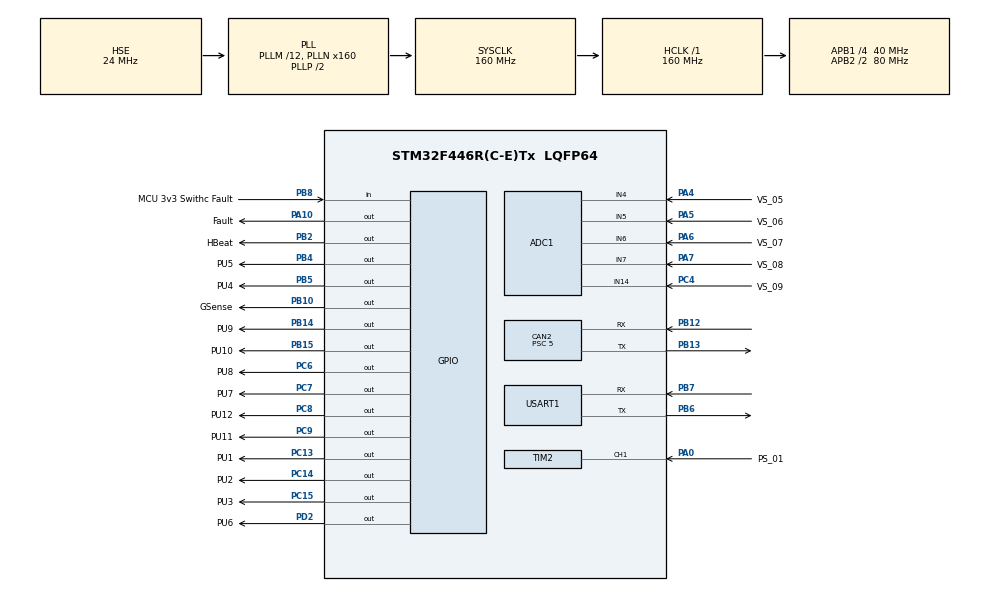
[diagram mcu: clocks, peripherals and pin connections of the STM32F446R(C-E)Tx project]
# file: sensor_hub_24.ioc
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ADC1.Channel-0\#ChannelRegularConversion=ADC_CHANNEL_4
ADC1.Channel-1\#ChannelRegularConversion=ADC_CHANNEL_5
ADC1.Channel-2\#ChannelRegularConversion=ADC_CHANNEL_6
ADC1.Channel-3\#ChannelRegularConversion=ADC_CHANNEL_7
ADC1.Channel-4\#ChannelRegularConversion=ADC_CHANNEL_14
ADC1.ContinuousConvMode=ENABLE
ADC1.DMAContinuousRequests=ENABLE
ADC1.InjNumberOfConversion=0
ADC1.NbrOfConversion=5
ADC1.NbrOfConversionFlag=1
ADC1.Rank-0\#ChannelRegularConversion=1
ADC1.Rank-1\#ChannelRegularConversion=2
ADC1.Rank-2\#ChannelRegularConversion=3
ADC1.Rank-3\#ChannelRegularConversion=4
ADC1.Rank-4\#ChannelRegularConversion=5
ADC1.SamplingTime-0\#ChannelRegularConversion=ADC_SAMPLETIME_480CYCLES
ADC1.SamplingTime-1\#ChannelRegularConversion=ADC_SAMPLETIME_480CYCLES
ADC1.SamplingTime-2\#ChannelRegularConversion=ADC_SAMPLETIME_480CYCLES
ADC1.SamplingTime-3\#ChannelRegularConversion=ADC_SAMPLETIME_480CYCLES
ADC1.SamplingTime-4\#ChannelRegularConversion=ADC_SAMPLETIME_480CYCLES
ADC1.ScanConvMode=ENABLE
ADC1.master=1
CAN2.ABOM=ENABLE
CAN2.AWUM=ENABLE
CAN2.BS1=CAN_BS1_6TQ
CAN2.CalculateBaudRate=1000000
CAN2.CalculateTimeBit=1000
CAN2.CalculateTimeQuantum=125.0
CAN2.Prescaler=5
Dma.ADC1.0.Direction=DMA_PERIPH_TO_MEMORY
Dma.ADC1.0.FIFOMode=DMA_FIFOMODE_DISABLE
Dma.ADC1.0.Instance=DMA2_Stream0
Dma.ADC1.0.MemDataAlignment=DMA_MDATAALIGN_HALFWORD
Dma.ADC1.0.MemInc=DMA_MINC_ENABLE
Dma.ADC1.0.Mode=DMA_CIRCULAR
Dma.ADC1.0.PeriphDataAlignment=DMA_PDATAALIGN_HALFWORD
Dma.ADC1.0.PeriphInc=DMA_PINC_DISABLE
Dma.ADC1.0.Priority=DMA_PRIORITY_LOW
Dma.Request0=ADC1
Dma.Request1=TIM2_CH1
Dma.TIM2_CH1.1.Direction=DMA_PERIPH_TO_MEMORY
Dma.TIM2_CH1.1.FIFOMode=DMA_FIFOMODE_DISABLE
Dma.TIM2_CH1.1.Instance=DMA1_Stream5
Dma.TIM2_CH1.1.MemDataAlignment=DMA_MDATAALIGN_WORD
Dma.TIM2_CH1.1.MemInc=DMA_MINC_ENABLE
Dma.TIM2_CH1.1.Mode=DMA_CIRCULAR
Dma.TIM2_CH1.1.PeriphDataAlignment=DMA_PDATAALIGN_WORD
Dma.TIM2_CH1.1.PeriphInc=DMA_PINC_DISABLE
Dma.TIM2_CH1.1.Priority=DMA_PRIORITY_LOW
FREERTOS.Tasks01=main_task,0,512,task_MainTask,Default,NULL,Dynamic,NULL,NULL;buffer_handling,1,1024,task_BufferHandling,Default,NULL,Dynamic,NULL,NULL
FREERTOS.configENABLE_FPU=1
FREERTOS.configMINIMAL_STACK_SIZE=256
Mcu.Family=STM32F4
Mcu.Name=STM32F446R(C-E)Tx
Mcu.Package=LQFP64
NVIC.CAN2_RX0_IRQn=true\:5\:0\:false\:false\:true\:true\:true\:true\:true
NVIC.CAN2_RX1_IRQn=true\:5\:0\:false\:false\:true\:true\:true\:true\:true
NVIC.CAN2_TX_IRQn=true\:5\:0\:false\:false\:true\:true\:true\:true\:true
NVIC.DMA1_Stream5_IRQn=true\:5\:0\:false\:false\:true\:true\:false\:true\:true
NVIC.DMA2_Stream0_IRQn=true\:5\:0\:false\:false\:true\:true\:false\:true\:true
NVIC.PriorityGroup=NVIC_PRIORITYGROUP_4
NVIC.TIM1_UP_TIM10_IRQn=true\:5\:0\:false\:false\:true\:true\:true\:true\:true
NVIC.TIM6_DAC_IRQn=true\:15\:0\:false\:false\:true\:false\:false\:true\:true
NVIC.TimeBase=TIM6_DAC_IRQn
NVIC.TimeBaseIP=TIM6
PA0-WKUP.GPIO_Label=PS_01
PA0-WKUP.Signal=S_TIM2_CH1_ETR
PA1.GPIO_Label=PS_03
PA1.Signal=S_TIM2_CH2
PA10.GPIO_Label=Fault
PA10.Signal=GPIO_Output
PA2.GPIO_Label=PS_02
PA2.Signal=S_TIM2_CH3
PA3.GPIO_Label=PS_04
PA3.Signal=S_TIM2_CH4
PA4.GPIO_Label=VS_05
PA4.Signal=ADCx_IN4
PA5.GPIO_Label=VS_06
PA5.Signal=ADCx_IN5
PA6.GPIO_Label=VS_07
PA6.Signal=ADCx_IN6
PA7.GPIO_Label=VS_08
PA7.Signal=ADCx_IN7
PB0.GPIO_Label=VS_11
PB0.Signal=ADCx_IN8
PB1.GPIO_Label=VS_12
PB1.Signal=ADCx_IN9
PB10.GPIO_Label=GSense
PB10.Signal=GPIO_Output
PB12.Mode=CAN_Activate
PB12.Signal=CAN2_RX
PB13.Mode=CAN_Activate
PB13.Signal=CAN2_TX
PB14.GPIO_Label=PU9
PB14.Signal=GPIO_Output
PB15.GPIO_Label=PU10
PB15.Signal=GPIO_Output
PB2.GPIO_Label=HBeat
PB2.Signal=GPIO_Output
PB4.GPIO_Label=PU5
PB4.Signal=GPIO_Output
PB5.GPIO_Label=PU4
PB5.Signal=GPIO_Output
PB6.Mode=Asynchronous
PB6.Signal=USART1_TX
PB7.Mode=Asynchronous
PB7.Signal=USART1_RX
PB8.GPIO_Label=MCU 3v3 Swithc Fault
PB8.Signal=GPIO_Input
PC0.GPIO_Label=VS_01
PC0.Signal=ADCx_IN10
PC1.GPIO_Label=VS_02
PC1.Signal=ADCx_IN11
PC13.GPIO_Label=PU1
PC13.Signal=GPIO_Output
PC14-OSC32_IN.GPIO_Label=PU2
PC14-OSC32_IN.Signal=GPIO_Output
PC15-OSC32_OUT.GPIO_Label=PU3
PC15-OSC32_OUT.Signal=GPIO_Output
PC2.GPIO_Label=VS_03
PC2.Signal=ADCx_IN12
PC3.GPIO_Label=VS_04
PC3.Signal=ADCx_IN13
PC4.GPIO_Label=VS_09
PC4.Signal=ADCx_IN14
PC5.GPIO_Label=VS_10
PC5.Signal=ADCx_IN15
PC6.GPIO_Label=PU8
PC6.Signal=GPIO_Output
PC7.GPIO_Label=PU7
PC7.Signal=GPIO_Output
PC8.GPIO_Label=PU12
PC8.Signal=GPIO_Output
PC9.GPIO_Label=PU11
PC9.Signal=GPIO_Output
PD2.GPIO_Label=PU6
PD2.Signal=GPIO_Output
PH0-OSC_IN.Mode=HSE-External-Clock-Source
PH0-OSC_IN.Signal=RCC_OSC_IN
PH1-OSC_OUT.Mode=HSE-External-Clock-Source
PH1-OSC_OUT.Signal=RCC_OSC_OUT
ProjectManager.HeapSize=0x200
ProjectManager.StackSize=0x400
ProjectManager.TargetToolchain=STM32CubeIDE
RCC.AHBFreq_Value=160000000
RCC.APB1CLKDivider=RCC_HCLK_DIV4
RCC.APB1Freq_Value=40000000
RCC.APB1TimFreq_Value=80000000
RCC.APB2CLKDivider=RCC_HCLK_DIV2
RCC.APB2Freq_Value=80000000
RCC.APB2TimFreq_Value=160000000
RCC.CortexFreq_Value=160000000
RCC.HCLKFreq_Value=160000000
RCC.HSE_VALUE=24000000
RCC.PLLM=12
RCC.PLLN=160
RCC.PLLSourceVirtual=RCC_PLLSOURCE_HSE
RCC.SYSCLKFreq_VALUE=160000000
RCC.SYSCLKSource=RCC_SYSCLKSOURCE_PLLCLK
RCC.USBFreq_Value=160000000
RCC.VCOOutputFreq_Value=320000000
SH.ADCx_IN10.0=ADC1_IN10
SH.ADCx_IN11.0=ADC1_IN11
SH.ADCx_IN12.0=ADC1_IN12
SH.ADCx_IN13.0=ADC1_IN13
SH.ADCx_IN14.0=ADC1_IN14,IN14
SH.ADCx_IN15.0=ADC1_IN15
SH.ADCx_IN4.0=ADC1_IN4,IN4
SH.ADCx_IN5.0=ADC1_IN5,IN5
SH.ADCx_IN6.0=ADC1_IN6,IN6
SH.ADCx_IN7.0=ADC1_IN7,IN7
SH.ADCx_IN8.0=ADC1_IN8
SH.ADCx_IN9.0=ADC1_IN9
SH.S_TIM2_CH1_ETR.0=TIM2_CH1,Input_Capture1_from_TI1
SH.S_TIM2_CH2.0=TIM2_CH2
SH.S_TIM2_CH3.0=TIM2_CH3
SH.S_TIM2_CH4.0=TIM2_CH4
TIM2.Channel-Input_Capture1_from_TI1=TIM_CHANNEL_1
TIM2.Period=0xffffffff
TIM2.Prescaler=8-1
USART1.VirtualMode=VM_ASYNC
VP_FREERTOS_VS_CMSIS_V1.Mode=CMSIS_V1
VP_SYS_VS_tim6.Mode=TIM6
VP_TIM10_VS_ClockSourceINT.Mode=Enable_Timer
VP_TIM2_VS_ClockSourceINT.Mode=Internal
board=custom

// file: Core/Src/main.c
/* USER CODE BEGIN Header */
/**
  ******************************************************************************
  * @file           : main.c
  * @brief          : Main program body
  ******************************************************************************
  * @attention
  *
  * Copyright (c) 2022 STMicroelectronics.
  * All rights reserved.
  *
  * This software is licensed under terms that can be found in the LICENSE file
  * in the root directory of this software component.
  * If no LICENSE file comes with this software, it is provided AS-IS.
  *
  ******************************************************************************
  */
/* USER CODE END Header */
#include "main.h"
#include "cmsis_os.h"

/* USER CODE BEGIN Includes */
#include "GopherCAN_devboard_example.h"
#include "gopher_sense.h"

/* USER CODE END Includes */

ADC_HandleTypeDef hadc1;
DMA_HandleTypeDef hdma_adc1;

CAN_HandleTypeDef hcan2;

TIM_HandleTypeDef htim2;
TIM_HandleTypeDef htim10;
DMA_HandleTypeDef hdma_tim2_ch1;

UART_HandleTypeDef huart1;

osThreadId main_taskHandle;
osThreadId buffer_handlingHandle;

void SystemClock_Config(void);
static void MX_GPIO_Init(void);
static void MX_DMA_Init(void);
static void MX_ADC1_Init(void);
static void MX_TIM10_Init(void);
static void MX_USART1_UART_Init(void);
static void MX_TIM2_Init(void);
static void MX_CAN2_Init(void);
void task_MainTask(void const * argument);
void task_BufferHandling(void const * argument);

/* USER CODE BEGIN 0 */
#ifdef __GNUC__
#define PUTCHAR_PROTOTYPE int __io_putchar(int ch)
#else
#define PUTCHAR_PROTOTYPE int fputc(int ch, FILE *f)
#endif

PUTCHAR_PROTOTYPE
{
  HAL_UART_Transmit(&huart1, (uint8_t *)&ch, 1, HAL_MAX_DELAY);
  return ch;
}
/* USER CODE END 0 */

int main(void)
{

  /* MCU Configuration--------------------------------------------------------*/

  /* Reset of all peripherals, Initializes the Flash interface and the Systick. */
  HAL_Init();

  /* Configure the system clock */
  SystemClock_Config();

  /* Initialize all configured peripherals */
  MX_GPIO_Init();
  MX_DMA_Init();
  MX_ADC1_Init();
  MX_TIM10_Init();
  MX_USART1_UART_Init();
  MX_TIM2_Init();
  MX_CAN2_Init();
  /* USER CODE BEGIN 2 */

  init(&hcan2);
  gsense_init(&hcan2, &hadc1, NULL, NULL, &htim10,
		  GSense_GPIO_Port, GSense_Pin);
  // TODO init speed sensors

  set_all_param_sending(TRUE);

  /* USER CODE END 2 */

  /* Create the thread(s) */
  /* definition and creation of main_task */
  osThreadDef(main_task, task_MainTask, osPriorityNormal, 0, 512);
  main_taskHandle = osThreadCreate(osThread(main_task), NULL);

  /* definition and creation of buffer_handling */
  osThreadDef(buffer_handling, task_BufferHandling, osPriorityAboveNormal, 0, 1024);
  buffer_handlingHandle = osThreadCreate(osThread(buffer_handling), NULL);

  /* Start scheduler */
  osKernelStart();

  /* We should never get here as control is now taken by the scheduler */

  /* Infinite loop */
  while (1)
  {

  }
}

void SystemClock_Config(void)
{
  RCC_OscInitTypeDef RCC_OscInitStruct = {0};
  RCC_ClkInitTypeDef RCC_ClkInitStruct = {0};

  /** Configure the main internal regulator output voltage
  */
  __HAL_RCC_PWR_CLK_ENABLE();
  __HAL_PWR_VOLTAGESCALING_CONFIG(PWR_REGULATOR_VOLTAGE_SCALE1);

  /** Initializes the RCC Oscillators according to the specified parameters
  * in the RCC_OscInitTypeDef structure.
  */
  RCC_OscInitStruct.OscillatorType = RCC_OSCILLATORTYPE_HSE;
  RCC_OscInitStruct.HSEState = RCC_HSE_BYPASS;
  RCC_OscInitStruct.PLL.PLLState = RCC_PLL_ON;
  RCC_OscInitStruct.PLL.PLLSource = RCC_PLLSOURCE_HSE;
  RCC_OscInitStruct.PLL.PLLM = 12;
  RCC_OscInitStruct.PLL.PLLN = 160;
  RCC_OscInitStruct.PLL.PLLP = RCC_PLLP_DIV2;
  RCC_OscInitStruct.PLL.PLLQ = 2;
  RCC_OscInitStruct.PLL.PLLR = 2;
  if (HAL_RCC_OscConfig(&RCC_OscInitStruct) != HAL_OK)
  {
    Error_Handler();
  }

  /** Initializes the CPU, AHB and APB buses clocks
  */
  RCC_ClkInitStruct.ClockType = RCC_CLOCKTYPE_HCLK|RCC_CLOCKTYPE_SYSCLK
                              |RCC_CLOCKTYPE_PCLK1|RCC_CLOCKTYPE_PCLK2;
  RCC_ClkInitStruct.SYSCLKSource = RCC_SYSCLKSOURCE_PLLCLK;
  RCC_ClkInitStruct.AHBCLKDivider = RCC_SYSCLK_DIV1;
  RCC_ClkInitStruct.APB1CLKDivider = RCC_HCLK_DIV4;
  RCC_ClkInitStruct.APB2CLKDivider = RCC_HCLK_DIV2;

  if (HAL_RCC_ClockConfig(&RCC_ClkInitStruct, FLASH_LATENCY_5) != HAL_OK)
  {
    Error_Handler();
  }
}

static void MX_ADC1_Init(void)
{

  ADC_ChannelConfTypeDef sConfig = {0};

  /** Configure the global features of the ADC (Clock, Resolution, Data Alignment and number of conversion)
  */
  hadc1.Instance = ADC1;
  hadc1.Init.ClockPrescaler = ADC_CLOCK_SYNC_PCLK_DIV4;
  hadc1.Init.Resolution = ADC_RESOLUTION_12B;
  hadc1.Init.ScanConvMode = ENABLE;
  hadc1.Init.ContinuousConvMode = ENABLE;
  hadc1.Init.DiscontinuousConvMode = DISABLE;
  hadc1.Init.ExternalTrigConvEdge = ADC_EXTERNALTRIGCONVEDGE_NONE;
  hadc1.Init.ExternalTrigConv = ADC_SOFTWARE_START;
  hadc1.Init.DataAlign = ADC_DATAALIGN_RIGHT;
  hadc1.Init.NbrOfConversion = 5;
  hadc1.Init.DMAContinuousRequests = ENABLE;
  hadc1.Init.EOCSelection = ADC_EOC_SINGLE_CONV;
  if (HAL_ADC_Init(&hadc1) != HAL_OK)
  {
    Error_Handler();
  }

  /** Configure for the selected ADC regular channel its corresponding rank in the sequencer and its sample time.
  */
  sConfig.Channel = ADC_CHANNEL_4;
  sConfig.Rank = 1;
  sConfig.SamplingTime = ADC_SAMPLETIME_480CYCLES;
  if (HAL_ADC_ConfigChannel(&hadc1, &sConfig) != HAL_OK)
  {
    Error_Handler();
  }

  /** Configure for the selected ADC regular channel its corresponding rank in the sequencer and its sample time.
  */
  sConfig.Channel = ADC_CHANNEL_5;
  sConfig.Rank = 2;
  if (HAL_ADC_ConfigChannel(&hadc1, &sConfig) != HAL_OK)
  {
    Error_Handler();
  }

  /** Configure for the selected ADC regular channel its corresponding rank in the sequencer and its sample time.
  */
  sConfig.Channel = ADC_CHANNEL_6;
  sConfig.Rank = 3;
  if (HAL_ADC_ConfigChannel(&hadc1, &sConfig) != HAL_OK)
  {
    Error_Handler();
  }

  /** Configure for the selected ADC regular channel its corresponding rank in the sequencer and its sample time.
  */
  sConfig.Channel = ADC_CHANNEL_7;
  sConfig.Rank = 4;
  if (HAL_ADC_ConfigChannel(&hadc1, &sConfig) != HAL_OK)
  {
    Error_Handler();
  }

  /** Configure for the selected ADC regular channel its corresponding rank in the sequencer and its sample time.
  */
  sConfig.Channel = ADC_CHANNEL_14;
  sConfig.Rank = 5;
  if (HAL_ADC_ConfigChannel(&hadc1, &sConfig) != HAL_OK)
  {
    Error_Handler();
  }

}

static void MX_CAN2_Init(void)
{

  hcan2.Instance = CAN2;
  hcan2.Init.Prescaler = 5;
  hcan2.Init.Mode = CAN_MODE_NORMAL;
  hcan2.Init.SyncJumpWidth = CAN_SJW_1TQ;
  hcan2.Init.TimeSeg1 = CAN_BS1_6TQ;
  hcan2.Init.TimeSeg2 = CAN_BS2_1TQ;
  hcan2.Init.TimeTriggeredMode = DISABLE;
  hcan2.Init.AutoBusOff = ENABLE;
  hcan2.Init.AutoWakeUp = ENABLE;
  hcan2.Init.AutoRetransmission = DISABLE;
  hcan2.Init.ReceiveFifoLocked = DISABLE;
  hcan2.Init.TransmitFifoPriority = DISABLE;
  if (HAL_CAN_Init(&hcan2) != HAL_OK)
  {
    Error_Handler();
  }

}

static void MX_TIM2_Init(void)
{

  TIM_ClockConfigTypeDef sClockSourceConfig = {0};
  TIM_MasterConfigTypeDef sMasterConfig = {0};
  TIM_IC_InitTypeDef sConfigIC = {0};

  htim2.Instance = TIM2;
  htim2.Init.Prescaler = 8-1;
  htim2.Init.CounterMode = TIM_COUNTERMODE_UP;
  htim2.Init.Period = 0xffffffff;
  htim2.Init.ClockDivision = TIM_CLOCKDIVISION_DIV1;
  htim2.Init.AutoReloadPreload = TIM_AUTORELOAD_PRELOAD_DISABLE;
  if (HAL_TIM_Base_Init(&htim2) != HAL_OK)
  {
    Error_Handler();
  }
  sClockSourceConfig.ClockSource = TIM_CLOCKSOURCE_INTERNAL;
  if (HAL_TIM_ConfigClockSource(&htim2, &sClockSourceConfig) != HAL_OK)
  {
    Error_Handler();
  }
  if (HAL_TIM_IC_Init(&htim2) != HAL_OK)
  {
    Error_Handler();
  }
  sMasterConfig.MasterOutputTrigger = TIM_TRGO_RESET;
  sMasterConfig.MasterSlaveMode = TIM_MASTERSLAVEMODE_DISABLE;
  if (HAL_TIMEx_MasterConfigSynchronization(&htim2, &sMasterConfig) != HAL_OK)
  {
    Error_Handler();
  }
  sConfigIC.ICPolarity = TIM_INPUTCHANNELPOLARITY_RISING;
  sConfigIC.ICSelection = TIM_ICSELECTION_DIRECTTI;
  sConfigIC.ICPrescaler = TIM_ICPSC_DIV1;
  sConfigIC.ICFilter = 0;
  if (HAL_TIM_IC_ConfigChannel(&htim2, &sConfigIC, TIM_CHANNEL_1) != HAL_OK)
  {
    Error_Handler();
  }

}

static void MX_TIM10_Init(void)
{

  htim10.Instance = TIM10;
  htim10.Init.Prescaler = 0;
  htim10.Init.CounterMode = TIM_COUNTERMODE_UP;
  htim10.Init.Period = 65535;
  htim10.Init.ClockDivision = TIM_CLOCKDIVISION_DIV1;
  htim10.Init.AutoReloadPreload = TIM_AUTORELOAD_PRELOAD_DISABLE;
  if (HAL_TIM_Base_Init(&htim10) != HAL_OK)
  {
    Error_Handler();
  }

}

static void MX_USART1_UART_Init(void)
{

  huart1.Instance = USART1;
  huart1.Init.BaudRate = 115200;
  huart1.Init.WordLength = UART_WORDLENGTH_8B;
  huart1.Init.StopBits = UART_STOPBITS_1;
  huart1.Init.Parity = UART_PARITY_NONE;
  huart1.Init.Mode = UART_MODE_TX_RX;
  huart1.Init.HwFlowCtl = UART_HWCONTROL_NONE;
  huart1.Init.OverSampling = UART_OVERSAMPLING_16;
  if (HAL_UART_Init(&huart1) != HAL_OK)
  {
    Error_Handler();
  }

}

static void MX_DMA_Init(void)
{

  /* DMA controller clock enable */
  __HAL_RCC_DMA2_CLK_ENABLE();
  __HAL_RCC_DMA1_CLK_ENABLE();

  /* DMA interrupt init */
  /* DMA1_Stream5_IRQn interrupt configuration */
  HAL_NVIC_SetPriority(DMA1_Stream5_IRQn, 5, 0);
  HAL_NVIC_EnableIRQ(DMA1_Stream5_IRQn);
  /* DMA2_Stream0_IRQn interrupt configuration */
  HAL_NVIC_SetPriority(DMA2_Stream0_IRQn, 5, 0);
  HAL_NVIC_EnableIRQ(DMA2_Stream0_IRQn);

}

static void MX_GPIO_Init(void)
{
  GPIO_InitTypeDef GPIO_InitStruct = {0};

  /* GPIO Ports Clock Enable */
  __HAL_RCC_GPIOC_CLK_ENABLE();
  __HAL_RCC_GPIOH_CLK_ENABLE();
  __HAL_RCC_GPIOA_CLK_ENABLE();
  __HAL_RCC_GPIOB_CLK_ENABLE();
  __HAL_RCC_GPIOD_CLK_ENABLE();

  /*Configure GPIO pin Output Level */
  HAL_GPIO_WritePin(GPIOC, PU1_Pin|PU2_Pin|PU3_Pin|PU8_Pin
                          |PU7_Pin|PU12_Pin|PU11_Pin, GPIO_PIN_RESET);

  /*Configure GPIO pin Output Level */
  HAL_GPIO_WritePin(GPIOB, HBeat_Pin|GSense_Pin|PU9_Pin|PU10_Pin
                          |PU5_Pin|PU4_Pin, GPIO_PIN_RESET);

  /*Configure GPIO pin Output Level */
  HAL_GPIO_WritePin(Fault_GPIO_Port, Fault_Pin, GPIO_PIN_RESET);

  /*Configure GPIO pin Output Level */
  HAL_GPIO_WritePin(PU6_GPIO_Port, PU6_Pin, GPIO_PIN_RESET);

  /*Configure GPIO pins : PU1_Pin PU2_Pin PU3_Pin PU8_Pin
                           PU7_Pin PU12_Pin PU11_Pin */
  GPIO_InitStruct.Pin = PU1_Pin|PU2_Pin|PU3_Pin|PU8_Pin
                          |PU7_Pin|PU12_Pin|PU11_Pin;
  GPIO_InitStruct.Mode = GPIO_MODE_OUTPUT_PP;
  GPIO_InitStruct.Pull = GPIO_NOPULL;
  GPIO_InitStruct.Speed = GPIO_SPEED_FREQ_LOW;
  HAL_GPIO_Init(GPIOC, &GPIO_InitStruct);

  /*Configure GPIO pins : HBeat_Pin GSense_Pin PU9_Pin PU10_Pin
                           PU5_Pin PU4_Pin */
  GPIO_InitStruct.Pin = HBeat_Pin|GSense_Pin|PU9_Pin|PU10_Pin
                          |PU5_Pin|PU4_Pin;
  GPIO_InitStruct.Mode = GPIO_MODE_OUTPUT_PP;
  GPIO_InitStruct.Pull = GPIO_NOPULL;
  GPIO_InitStruct.Speed = GPIO_SPEED_FREQ_LOW;
  HAL_GPIO_Init(GPIOB, &GPIO_InitStruct);

  /*Configure GPIO pin : Fault_Pin */
  GPIO_InitStruct.Pin = Fault_Pin;
  GPIO_InitStruct.Mode = GPIO_MODE_OUTPUT_PP;
  GPIO_InitStruct.Pull = GPIO_NOPULL;
  GPIO_InitStruct.Speed = GPIO_SPEED_FREQ_LOW;
  HAL_GPIO_Init(Fault_GPIO_Port, &GPIO_InitStruct);

  /*Configure GPIO pin : PU6_Pin */
  GPIO_InitStruct.Pin = PU6_Pin;
  GPIO_InitStruct.Mode = GPIO_MODE_OUTPUT_PP;
  GPIO_InitStruct.Pull = GPIO_NOPULL;
  GPIO_InitStruct.Speed = GPIO_SPEED_FREQ_LOW;
  HAL_GPIO_Init(PU6_GPIO_Port, &GPIO_InitStruct);

  /*Configure GPIO pin : MCU_3v3_Swithc_Fault_Pin */
  GPIO_InitStruct.Pin = MCU_3v3_Swithc_Fault_Pin;
  GPIO_InitStruct.Mode = GPIO_MODE_INPUT;
  GPIO_InitStruct.Pull = GPIO_NOPULL;
  HAL_GPIO_Init(MCU_3v3_Swithc_Fault_GPIO_Port, &GPIO_InitStruct);

}

void task_MainTask(void const * argument)
{
  /* USER CODE BEGIN 5 */
  /* Infinite loop */
  for(;;)
  {
	  main_loop();
    osDelay(10);
  }
  /* USER CODE END 5 */
}

void task_BufferHandling(void const * argument)
{
  /* USER CODE BEGIN task_BufferHandling */
  /* Infinite loop */
  for(;;)
  {
	  can_buffer_handling_loop();
    osDelay(1);
  }
  /* USER CODE END task_BufferHandling */
}

void HAL_TIM_PeriodElapsedCallback(TIM_HandleTypeDef *htim)
{
  if (htim->Instance == TIM6) {
    HAL_IncTick();
  }
  /* USER CODE BEGIN Callback 1 */
  else
  {
	  DAQ_TimerCallback(htim);
  }
  /* USER CODE END Callback 1 */
}

void Error_Handler(void)
{
  __disable_irq();
  while (1)
  {
  }
}
